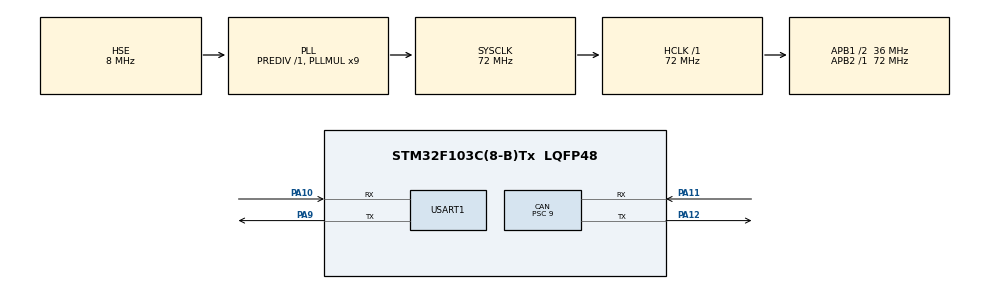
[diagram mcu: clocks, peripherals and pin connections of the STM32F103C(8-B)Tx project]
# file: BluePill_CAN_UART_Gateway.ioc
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CAN.ABOM=ENABLE
CAN.BS1=CAN_BS1_6TQ
CAN.CalculateBaudRate=500000
CAN.CalculateTimeBit=2000
CAN.CalculateTimeQuantum=250.0
CAN.Mode=CAN_MODE_NORMAL
CAN.NART=ENABLE
CAN.Prescaler=9
Mcu.Family=STM32F1
Mcu.Name=STM32F103C(8-B)Tx
Mcu.Package=LQFP48
NVIC.PriorityGroup=NVIC_PRIORITYGROUP_4
NVIC.USART1_IRQn=true\:0\:0\:false\:false\:true\:true\:true\:true
NVIC.USB_LP_CAN1_RX0_IRQn=true\:0\:0\:false\:false\:true\:true\:true\:true
PA10.Mode=Asynchronous
PA10.Signal=USART1_RX
PA11.Mode=CAN_Activate
PA11.Signal=CAN_RX
PA12.Mode=CAN_Activate
PA12.Signal=CAN_TX
PA13.Mode=Serial_Wire
PA13.Signal=SYS_JTMS-SWDIO
PA14.Mode=Serial_Wire
PA14.Signal=SYS_JTCK-SWCLK
PA9.Mode=Asynchronous
PA9.Signal=USART1_TX
PD0-OSC_IN.Mode=HSE-External-Oscillator
PD0-OSC_IN.Signal=RCC_OSC_IN
PD1-OSC_OUT.Mode=HSE-External-Oscillator
PD1-OSC_OUT.Signal=RCC_OSC_OUT
ProjectManager.HeapSize=0x200
ProjectManager.StackSize=0x400
ProjectManager.TargetToolchain=STM32CubeIDE
RCC.ADCPresc=RCC_ADCPCLK2_DIV6
RCC.AHBFreq_Value=72000000
RCC.APB1CLKDivider=RCC_HCLK_DIV2
RCC.APB1Freq_Value=36000000
RCC.APB1TimFreq_Value=72000000
RCC.APB2Freq_Value=72000000
RCC.APB2TimFreq_Value=72000000
RCC.HCLKFreq_Value=72000000
RCC.PLLMUL=RCC_PLL_MUL9
RCC.PLLSourceVirtual=RCC_PLLSOURCE_HSE
RCC.SYSCLKFreq_VALUE=72000000
RCC.SYSCLKSource=RCC_SYSCLKSOURCE_PLLCLK
RCC.USBFreq_Value=72000000
USART1.VirtualMode=VM_ASYNC
board=custom

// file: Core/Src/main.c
/* USER CODE BEGIN Header */
/**
  ******************************************************************************
  * @file           : main.c
  * @brief          : Main program body
  ******************************************************************************
  * @attention
  *
  * Copyright (c) 2026 STMicroelectronics.
  * All rights reserved.
  *
  * This software is licensed under terms that can be found in the LICENSE file
  * in the root directory of this software component.
  * If no LICENSE file comes with this software, it is provided AS-IS.
  *
  ******************************************************************************
  */
/* USER CODE END Header */
#include "main.h"

/* USER CODE BEGIN Includes */
#include "can_gateway.h"
#include "uart_protocol.h"
/* USER CODE END Includes */

CAN_HandleTypeDef hcan;

UART_HandleTypeDef huart1;

void SystemClock_Config(void);
static void MX_GPIO_Init(void);
static void MX_CAN_Init(void);
static void MX_USART1_UART_Init(void);

int main(void)
{

  /* MCU Configuration--------------------------------------------------------*/

  /* Reset of all peripherals, Initializes the Flash interface and the Systick. */
  HAL_Init();

  /* Configure the system clock */
  SystemClock_Config();

  /* Initialize all configured peripherals */
  MX_GPIO_Init();
  MX_CAN_Init();
  MX_USART1_UART_Init();
  /* USER CODE BEGIN 2 */

  UART_Protocol_SendString(
      "\r\nBluePill CAN-UART Gateway starting\r\n"
  );

  if (CAN_Gateway_Init() != HAL_OK)
  {
      UART_Protocol_SendString(
          "ERR:GATEWAY_INIT\r\n"
      );

      Error_Handler();
  }

  if (UART_Protocol_Init() != HAL_OK)
  {
      UART_Protocol_SendString(
          "ERR:UART_INIT\r\n"
      );

      Error_Handler();
  }

  UART_Protocol_SendString(
      "READY:CAN=500K:UART=115200\r\n"
  );

  UART_Protocol_SendString(
      "FORMAT:TX:ID:DLC:DATA\r\n"
  );

  /* USER CODE END 2 */

  /* Infinite loop */
  /* USER CODE BEGIN WHILE */
  while (1)
  {
	  UART_Protocol_Process();

	  CAN_Gateway_Process();

	  HAL_Delay(1);
    /* USER CODE END WHILE */

  }
}

void SystemClock_Config(void)
{
  RCC_OscInitTypeDef RCC_OscInitStruct = {0};
  RCC_ClkInitTypeDef RCC_ClkInitStruct = {0};

  /** Initializes the RCC Oscillators according to the specified parameters
  * in the RCC_OscInitTypeDef structure.
  */
  RCC_OscInitStruct.OscillatorType = RCC_OSCILLATORTYPE_HSE;
  RCC_OscInitStruct.HSEState = RCC_HSE_ON;
  RCC_OscInitStruct.HSEPredivValue = RCC_HSE_PREDIV_DIV1;
  RCC_OscInitStruct.HSIState = RCC_HSI_ON;
  RCC_OscInitStruct.PLL.PLLState = RCC_PLL_ON;
  RCC_OscInitStruct.PLL.PLLSource = RCC_PLLSOURCE_HSE;
  RCC_OscInitStruct.PLL.PLLMUL = RCC_PLL_MUL9;
  if (HAL_RCC_OscConfig(&RCC_OscInitStruct) != HAL_OK)
  {
    Error_Handler();
  }

  /** Initializes the CPU, AHB and APB buses clocks
  */
  RCC_ClkInitStruct.ClockType = RCC_CLOCKTYPE_HCLK|RCC_CLOCKTYPE_SYSCLK
                              |RCC_CLOCKTYPE_PCLK1|RCC_CLOCKTYPE_PCLK2;
  RCC_ClkInitStruct.SYSCLKSource = RCC_SYSCLKSOURCE_PLLCLK;
  RCC_ClkInitStruct.AHBCLKDivider = RCC_SYSCLK_DIV1;
  RCC_ClkInitStruct.APB1CLKDivider = RCC_HCLK_DIV2;
  RCC_ClkInitStruct.APB2CLKDivider = RCC_HCLK_DIV1;

  if (HAL_RCC_ClockConfig(&RCC_ClkInitStruct, FLASH_LATENCY_2) != HAL_OK)
  {
    Error_Handler();
  }
}

static void MX_CAN_Init(void)
{

  hcan.Instance = CAN1;
  hcan.Init.Prescaler = 9;
  hcan.Init.Mode = CAN_MODE_NORMAL;
  hcan.Init.SyncJumpWidth = CAN_SJW_1TQ;
  hcan.Init.TimeSeg1 = CAN_BS1_6TQ;
  hcan.Init.TimeSeg2 = CAN_BS2_1TQ;
  hcan.Init.TimeTriggeredMode = DISABLE;
  hcan.Init.AutoBusOff = ENABLE;
  hcan.Init.AutoWakeUp = DISABLE;
  hcan.Init.AutoRetransmission = ENABLE;
  hcan.Init.ReceiveFifoLocked = DISABLE;
  hcan.Init.TransmitFifoPriority = DISABLE;
  if (HAL_CAN_Init(&hcan) != HAL_OK)
  {
    Error_Handler();
  }

}

static void MX_USART1_UART_Init(void)
{

  huart1.Instance = USART1;
  huart1.Init.BaudRate = 115200;
  huart1.Init.WordLength = UART_WORDLENGTH_8B;
  huart1.Init.StopBits = UART_STOPBITS_1;
  huart1.Init.Parity = UART_PARITY_NONE;
  huart1.Init.Mode = UART_MODE_TX_RX;
  huart1.Init.HwFlowCtl = UART_HWCONTROL_NONE;
  huart1.Init.OverSampling = UART_OVERSAMPLING_16;
  if (HAL_UART_Init(&huart1) != HAL_OK)
  {
    Error_Handler();
  }

}

static void MX_GPIO_Init(void)
{

  /* GPIO Ports Clock Enable */
  __HAL_RCC_GPIOD_CLK_ENABLE();
  __HAL_RCC_GPIOA_CLK_ENABLE();

}

/* USER CODE BEGIN 4 */

void HAL_CAN_RxFifo0MsgPendingCallback(
    CAN_HandleTypeDef *phcan)
{
    CAN_Gateway_RxCallback(phcan);
}

void HAL_CAN_ErrorCallback(
    CAN_HandleTypeDef *phcan)
{
    CAN_Gateway_ErrorCallback(phcan);
}

void HAL_UART_RxCpltCallback(
    UART_HandleTypeDef *huart)
{
    UART_Protocol_RxCallback(huart);
}

/* USER CODE END 4 */

void Error_Handler(void)
{
  __disable_irq();
  while (1)
  {
  }
}
